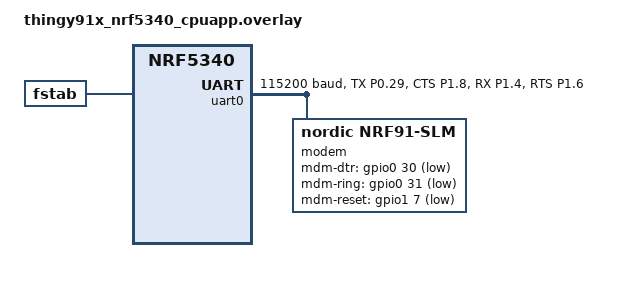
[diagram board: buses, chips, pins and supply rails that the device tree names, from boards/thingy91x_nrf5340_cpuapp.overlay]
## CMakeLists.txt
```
# SPDX-License-Identifier: Apache-2.0

cmake_minimum_required(VERSION 3.20.0)
find_package(Zephyr REQUIRED HINTS $ENV{ZEPHYR_BASE})
project(gateway_custom_connect)

target_include_directories(app PRIVATE
  include
  ${CMAKE_CURRENT_BINARY_DIR}
  ${CMAKE_CURRENT_LIST_DIR}/../gateway/src
)

target_sources(app PRIVATE
  ${CMAKE_CURRENT_LIST_DIR}/../gateway/src/credentials.c
  ${CMAKE_CURRENT_LIST_DIR}/../gateway/src/fatal_error.c
  src/main.c
  src/scan.c
  git_describe.h
)

if(CONFIG_WIFI)
  target_sources(app PRIVATE ${CMAKE_CURRENT_LIST_DIR}/../gateway/src/wifi.c)
endif()

file(WRITE ${CMAKE_CURRENT_BINARY_DIR}/mk-git-describe.sh
  "echo \"#define GIT_DESCRIBE \\\\\" > ${CMAKE_CURRENT_BINARY_DIR}/git_describe.h\n"
  "git describe --always --dirty >> ${CMAKE_CURRENT_BINARY_DIR}/git_describe.h || true\n")

add_custom_command(OUTPUT git_describe.h always_run
  COMMAND chmod +x ${CMAKE_CURRENT_BINARY_DIR}/mk-git-describe.sh
  COMMAND ${CMAKE_CURRENT_BINARY_DIR}/mk-git-describe.sh
  WORKING_DIRECTORY ${CMAKE_CURRENT_LIST_DIR})

if (NOT CONFIG_EXAMPLE_COAP_CLIENT_DTLS_LOAD_CA_FROM_FILESYSTEM)
  generate_inc_file_for_target(app
    ${CMAKE_CURRENT_SOURCE_DIR}/../http_client/src/isrgrootx1.der
    ${ZEPHYR_BINARY_DIR}/include/generated/pouch-ca-crt.inc)
endif()
```

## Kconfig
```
# Copyright (c) 2025 Golioth, Inc.
# SPDX-License-Identifier: Apache-2.0

configdefault NET_SHELL
	default n

configdefault MBEDTLS_HEAP_SIZE
	default 16384

configdefault BT_CTLR_DATA_LENGTH_MAX
	default 251

# This option is used only for automated tests
config SAMPLE_POUCH_GATEWAY_BT_AUTO_BOND
	bool
	default y if BOARD_NRF52_BSIM_NATIVE
	default y if BOARD_NRF9160DK_NRF52840

# This option is used only for automated tests
config SAMPLE_POUCH_GATEWAY_BT_AUTO_CONFIRM
	bool
	default y if BOARD_NRF52_BSIM_NATIVE
	default y if BOARD_NRF9160DK_NRF52840

config EXAMPLE_COAP_CLIENT_SYNC_PERIOD_S
	int "CoAP client sync period (s)"
	default 30

config EXAMPLE_CREDENTIALS_DIR
	string "Directory containing credentials"
	default "/lfs1/credentials"
	help
	  Directory on mounted file system containing credentials.

config EXAMPLE_COAP_CLIENT_DTLS_CREDENTIALS
	int "Sec Tag to use when storing DTLS credentials"
	default 515765868

config EXAMPLE_COAP_CLIENT_DTLS_LOAD_CA_FROM_FILESYSTEM
	bool "Load the server CA cert from filesystem"
	help
	  Optionally load the CA certificate used for DTLS/mTLS from
	  EXAMPLE_CREDENTIALS_DIR/ca.der. If this symbol is not selected,
	  ISRG Root X1 is used.

config EXAMPLE_COAP_CLIENT_GW_DEVICE_CRT_FILENAME
	string "Gateway device crt filename in filesystem"
	default "crt.der"
	help
	  The filename used to store the mTLS device certificate in the filesystem.

config EXAMPLE_COAP_CLIENT_GW_DEVICE_KEY_FILENAME
	string "Gateway device key filename in filesystem"
	default "key.der"
	help
	  The filename used to store the mTLS device private key in the filesystem.

config EXAMPLE_POUCH_DEVICE_CRT_FILENAME
	string "Pouch device crt filename in filesystem"
	default "crt.der"
	help
	  The filename used to store the pouch device certificate in the filesystem.

config EXAMPLE_POUCH_DEVICE_KEY_FILENAME
	string "Pouch device key filename in filesystem"
	default "key.der"
	help
	  The filename used to store the pouch device private key in the filesystem.

source "Kconfig.zephyr"
```

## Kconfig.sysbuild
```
# Copyright (c) 2025 Golioth, Inc.
# SPDX-License-Identifier: Apache-2.0

rsource "Kconfig.sysbuild.defconfig"

menu "Gateway configuration"

config POUCH_GATEWAY_CLOUD
	bool "Send pouches to cloud"
	default y
	help
	  Disabling cloud communication allows to test Pouch Gateway
	  functionality without relying on communication with backend. All
	  pouches received from Bluetooth nodes are dropped in that case.

config POUCH_COAP_GW_URI
	string "CoAP gateway address"
	default "$(CONFIG_POUCH_COAP_GW_URI)" if "$(CONFIG_POUCH_COAP_GW_URI)" != ""
	default "coap.golioth.io"
	help
	  Hostname of the CoAP gateway server.

endmenu

menu "BabbleSim components"
	depends on SOC = "native"

config BSIM_HANDBRAKE
	bool "Handbrake"
	default y if POUCH_GATEWAY_CLOUD

endmenu

menu "BabbleSim peripherals"
	depends on SOC = "native"

config PERIPHERAL_ZEPHYR
	bool "Zephyr"
	help
	  Zephyr peripheral sample.

config PERIPHERAL_ZEPHYR_NUM
	int "Number of Zephyr peripherals"
	default 1
	depends on PERIPHERAL_ZEPHYR

config PERIPHERAL_PERIODIC_UPLINK
	bool "Periodic uplink"
	help
	  Periodic uplink sample.

config PERIPHERAL_PERIODIC_UPLINK_NUM
	int "Number of periodic uplink peripherals"
	default 1
	depends on PERIPHERAL_PERIODIC_UPLINK

config PERIPHERAL_BLE_GATT_EXAMPLE
	bool "BLE GATT example"
	default y
	help
	  BLE GATT sample.

config PERIPHERAL_BLE_GATT_EXAMPLE_NUM
	int "Number of BLE GATT example peripherals"
	default 1
	depends on PERIPHERAL_BLE_GATT_EXAMPLE

endmenu

config PERIPHERAL_MOUNT_CREDS
	bool "Mount peripheral credentials under /creds directory"
	help
	  Mount ../creds relative to each peripheral image's runtime working
	  directory at /creds.

config GATEWAY_MOUNT_CREDS
	bool "Mount gateway credentials under /creds directory"
	help
	  Mount ../creds relative to the gateway image's runtime working
	  directory at /creds.

source "share/sysbuild/Kconfig"
```

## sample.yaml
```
sample:
  name: Pouch Gateway with custom connect
common:
  tags: bluetooth
  harness: pytest
  harness_config:
    pytest_root:
      - "../gateway/pytest/test_sample.py"
    pytest_dut_scope: module
  sysbuild: true
  platform_allow:
    - nrf52_bsim
  integration_platforms:
    - nrf52_bsim
  timeout: 180
tests:
  pouch.gateway_custom_connect.lesc:
    extra_args:
      - SB_CONFIG_PERIPHERAL_MOUNT_CREDS=y
      - SB_CONFIG_GATEWAY_MOUNT_CREDS=y
      - peripheral_ble_gatt_example_0_CONFIG_PICOLIBC=y
      - peripheral_ble_gatt_example_0_CONFIG_FILE_SYSTEM_NSIM_MOUNT=y
      - peripheral_ble_gatt_example_0_CONFIG_EXAMPLE_SYNC_PERIOD_S=2
      - gateway_custom_connect_CONFIG_EXAMPLE_COAP_CLIENT_SYNC_PERIOD_S=2
  pouch.gateway_custom_connect.auth:
    extra_args:
      - SB_CONFIG_PERIPHERAL_MOUNT_CREDS=y
      - SB_CONFIG_GATEWAY_MOUNT_CREDS=y
      - peripheral_ble_gatt_example_0_CONFIG_PICOLIBC=y
      - peripheral_ble_gatt_example_0_CONFIG_FILE_SYSTEM_NSIM_MOUNT=y
      - peripheral_ble_gatt_example_0_CONFIG_EXAMPLE_SYNC_PERIOD_S=2
      - gateway_custom_connect_CONFIG_EXAMPLE_COAP_CLIENT_SYNC_PERIOD_S=2
      - gateway_custom_connect_CONFIG_POUCH_GATEWAY_GATT_SCAN_FILTER_BONDED=y
```

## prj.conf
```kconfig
CONFIG_POUCH=y
CONFIG_POUCH_GATEWAY=y
CONFIG_POUCH_TRANSPORT_COAP_CLIENT=y
CONFIG_GOLIOTH=y
CONFIG_GOLIOTH_SETTINGS=y

CONFIG_BT=y
CONFIG_BT_CENTRAL=y
CONFIG_BT_MAX_CONN=16
CONFIG_BT_GATT_CLIENT=y
CONFIG_BT_GATT_CACHING=n
CONFIG_BT_GATT_AUTO_UPDATE_MTU=y
CONFIG_BT_L2CAP_TX_MTU=247
CONFIG_BT_BUF_ACL_TX_SIZE=251
CONFIG_BT_BUF_ACL_RX_SIZE=251
CONFIG_BT_RX_STACK_SIZE=4096

CONFIG_COAP_INIT_ACK_TIMEOUT_MS=3000

CONFIG_LOG=y

# Settings subsystem
CONFIG_FLASH=y
CONFIG_FLASH_MAP=y

CONFIG_SETTINGS=y
CONFIG_SETTINGS_FILE=y
CONFIG_SETTINGS_FILE_PATH="/lfs1/settings"

# Application
CONFIG_MAIN_STACK_SIZE=8192
CONFIG_SYSTEM_WORKQUEUE_STACK_SIZE=2048
CONFIG_SHELL=y

CONFIG_ZVFS_EVENTFD_MAX=11

# Pouch server certificate parse
CONFIG_MBEDTLS_PSA_CRYPTO_C=y
CONFIG_MBEDTLS_PEM_PARSE_C=y
CONFIG_PSA_WANT_ALG_ECDSA=y
CONFIG_PSA_WANT_ALG_SHA_384=y
CONFIG_PSA_WANT_ECC_SECP_R1_256=y
CONFIG_PSA_WANT_ECC_SECP_R1_384=y
CONFIG_PSA_WANT_KEY_TYPE_ECC_PUBLIC_KEY=y

# Bluetooth secure connections
CONFIG_BT_SMP=y
CONFIG_BT_SECURITY_ERR_TO_STR=y
# This option is implied by BT_SMP and breaks secp384r1 support
CONFIG_MBEDTLS_PSA_P256M_DRIVER_ENABLED=n

# Networking
CONFIG_NETWORKING=y
CONFIG_NET_IPV4=y
CONFIG_NET_IPV6=n
CONFIG_NET_UDP=y
CONFIG_DNS_RESOLVER=y
CONFIG_NET_SOCKETS_CONNECT_TIMEOUT=6000
CONFIG_NET_SOCKETS_SOCKOPT_TLS=y
CONFIG_NET_SOCKETS_ENABLE_DTLS=y

# Sockets
CONFIG_NET_SOCKETS=y
CONFIG_ZVFS_POLL_MAX=4
CONFIG_POSIX_API=y

# Network driver config
CONFIG_TEST_RANDOM_GENERATOR=y

# Network buffers
CONFIG_NET_PKT_RX_COUNT=8
CONFIG_NET_PKT_TX_COUNT=8
CONFIG_NET_CONTEXT_NET_PKT_POOL=y

# Network address config
CONFIG_NET_CONFIG_SETTINGS=y
CONFIG_NET_CONFIG_NEED_IPV4=y
CONFIG_NET_CONFIG_NEED_IPV6=n

# CoAP
CONFIG_COAP=y

# File system for credentials
CONFIG_FILE_SYSTEM=y
CONFIG_FILE_SYSTEM_LITTLEFS=y
CONFIG_FILE_SYSTEM_SHELL=y

# Flash for LittleFS
CONFIG_STREAM_FLASH=y

# TLS/DTLS configuration
CONFIG_MBEDTLS=y
CONFIG_MBEDTLS_BUILTIN=y
CONFIG_MBEDTLS_ENABLE_HEAP=y
CONFIG_MBEDTLS_HEAP_SIZE=60000
CONFIG_MBEDTLS_SSL_MAX_CONTENT_LEN=16384
CONFIG_MBEDTLS_SSL_PROTO_TLS1_2=y
CONFIG_MBEDTLS_X509_CRT_PARSE_C=y
CONFIG_MBEDTLS_KEY_EXCHANGE_ECDHE_ECDSA_ENABLED=y

# TLS cipher suites (via PSA Crypto)
CONFIG_PSA_WANT_ALG_ECDH=y
CONFIG_PSA_WANT_ALG_ECDSA=y
CONFIG_PSA_WANT_ALG_GCM=y
CONFIG_PSA_WANT_ALG_RSA_PKCS1V15_SIGN=y
CONFIG_PSA_WANT_ALG_SHA_256=y
CONFIG_PSA_WANT_ALG_TLS12_PRF=y
CONFIG_PSA_WANT_KEY_TYPE_AES=y
CONFIG_PSA_WANT_KEY_TYPE_ECC_KEY_PAIR_GENERATE=y
CONFIG_PSA_WANT_KEY_TYPE_RSA_PUBLIC_KEY=y
CONFIG_PSA_WANT_KEY_TYPE_RSA_KEY_PAIR_IMPORT=y

# Misc
CONFIG_HEAP_MEM_POOL_SIZE=1024
CONFIG_REBOOT=y

# The shared pouch_buf pool backs both device-side pouch transfers
# and gateway downlink buffering.  Each slot must fit one CoAP block
# (CONFIG_POUCH_COAP_BLOCK_SIZE, default 1024) plus the protocol
# header overhead.  The count covers POUCH_GATEWAY_NUM_BLOCKS in-flight
# downlink blocks (default 10) plus headroom for the gateway's own
# device-side uplink/downlink.
CONFIG_POUCH_BLOCK_SIZE=1024
CONFIG_POUCH_BLOCK_COUNT=12

# Server cert buffers (Golioth's server cert is ~1.5 KB)
CONFIG_POUCH_SERVER_CERT_MAX_LEN=2048
CONFIG_POUCH_GATEWAY_SERVER_CERT_MAX_LEN=2048

# Enable mcumgr
CONFIG_ZCBOR=y
CONFIG_MCUMGR=y

# Enable the shell mcumgr transport. This allows SMP messages to pass
# through the shell to the mgmt subsystem.
CONFIG_BASE64=y
CONFIG_CRC=y
CONFIG_MCUMGR_TRANSPORT_SHELL=y

# Enable mcumgr params to allow smpmgr to query device for its MTU
CONFIG_MCUMGR_GRP_OS=y
CONFIG_MCUMGR_GRP_OS_MCUMGR_PARAMS=y

# Enable file system commands
CONFIG_MCUMGR_GRP_FS=y
CONFIG_MCUMGR_GRP_FS_FILE_ACCESS_HOOK=y
CONFIG_MCUMGR_MGMT_NOTIFICATION_HOOKS=y
```

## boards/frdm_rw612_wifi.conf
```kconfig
# Extra configuration file for using NXP frdm_rw612 with WiFi instead of Ethernet
#   To use, add as extra conf file:
#   west build -p -b frdm_rw612 <path_to>/gateway_custom_connect -- -DEXTRA_CONF_FILE=boards/frdm_rw612_wifi.conf
#
CONFIG_WIFI=y
CONFIG_WIFI_NXP=y

# Ensure that filesystem initializes before settings
CONFIG_FILE_SYSTEM_INIT_PRIORITY=89

# Runtime provisioning for WiFi credentials
CONFIG_WIFI_CREDENTIALS=y
CONFIG_NET_L2_WIFI_SHELL=y
CONFIG_SHELL_STACK_SIZE=2560

# Wifi Configuration
CONFIG_NET_L2_ETHERNET=y
CONFIG_NET_PKT_RX_COUNT=36
CONFIG_NET_PKT_TX_COUNT=36
CONFIG_NET_BUF_RX_COUNT=40
CONFIG_NET_BUF_TX_COUNT=40
CONFIG_NET_BUF_DATA_SIZE=1744

# Handle WiFi Networks with Multiple DNS Servers
CONFIG_DNS_RESOLVER_MAX_SERVERS=3

# Disable Ethernet
CONFIG_ETH_NXP_ENET=n
CONFIG_PHY_MICROCHIP_KSZ8081=n
CONFIG_NET_CONFIG_AUTO_INIT=n
CONFIG_NET_CONFIG_NEED_IPV4=n
```

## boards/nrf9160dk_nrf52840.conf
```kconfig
# Reduce max connected BT devices help with RAM usage
CONFIG_BT_MAX_CONN=8

# PPP
CONFIG_NET_L2_PPP=y
CONFIG_NET_L2_PPP_OPTION_DNS_USE=y

# Network management
CONFIG_NET_MGMT=y
CONFIG_NET_MGMT_EVENT=y
CONFIG_NET_CONNECTION_MANAGER=y

# Modem driver
CONFIG_MODEM=y
CONFIG_MODEM_CELLULAR=y

# Align with the Serial LTE Modem (SLM) application.
CONFIG_MODEM_CELLULAR_UART_BUFFER_SIZES=6000

# CMUX configuration
# MTU must accommodate PPP frames (up to 1500 bytes for IP packets)
CONFIG_MODEM_CMUX_MTU=1500
CONFIG_MODEM_CMUX_WORK_BUFFER_SIZE_EXTRA=2048

# NB-IoT latency can reach 10s; use greater timeouts
CONFIG_NET_SOCKETS_DNS_TIMEOUT=15000
CONFIG_NET_SOCKETS_CONNECT_TIMEOUT=15000
CONFIG_COAP_INIT_ACK_TIMEOUT_MS=15000
CONFIG_NET_SOCKETS_DTLS_TIMEOUT=15000
```

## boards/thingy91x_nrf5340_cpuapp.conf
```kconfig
# Reduce max connected BT devices help with RAM usage
CONFIG_BT_MAX_CONN=8

# PPP networking over Serial Modem
CONFIG_NET_L2_PPP=y
CONFIG_NET_L2_PPP_OPTION_DNS_USE=y

# Network management
CONFIG_NET_MGMT=y
CONFIG_NET_MGMT_EVENT=y
CONFIG_NET_CONNECTION_MANAGER=y

# Modem driver
CONFIG_MODEM=y
CONFIG_MODEM_CELLULAR=y

# CMUX and buffer configuration
# MTU must accommodate PPP frames (up to 1500 bytes for IP packets)
CONFIG_MODEM_CMUX_MTU=1500
CONFIG_MODEM_CELLULAR_UART_BUFFER_SIZES=6000
CONFIG_MODEM_CMUX_WORK_BUFFER_SIZE_EXTRA=2048

# UART configuration for nRF5340
CONFIG_UART_INTERRUPT_DRIVEN=y
CONFIG_UART_ASYNC_API=n

# GPIO
CONFIG_GPIO=y

# Console on RTT (UART0 is used for the modem)
CONFIG_UART_CONSOLE=n
CONFIG_RTT_CONSOLE=y
CONFIG_SHELL_BACKEND_RTT=y
CONFIG_LOG_BACKEND_UART=n
CONFIG_SEGGER_RTT_BUFFER_SIZE_UP=2048

# Debug logging
CONFIG_LOG_DEFAULT_LEVEL=3

# NB-IoT latency can reach 10s; use greater timeouts
CONFIG_NET_SOCKETS_DNS_TIMEOUT=15000
CONFIG_NET_SOCKETS_CONNECT_TIMEOUT=15000
CONFIG_COAP_INIT_ACK_TIMEOUT_MS=15000
CONFIG_NET_SOCKETS_DTLS_TIMEOUT=15000

# Increase default BT ACL TX count
CONFIG_BT_BUF_ACL_TX_COUNT=7
```

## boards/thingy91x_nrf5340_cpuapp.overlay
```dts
/*
 * Thingy:91 X overlay for Serial Modem communication with on-board nRF9151
 *
 * UART0 is used for Serial Modem communication with 4-wire UART (HW flow control).
 * Pin assignment matches the pouch-gateway BT HCI UART wiring:
 *   TX  = P0.29 <-> nRF9151 P0.00 (RX)
 *   RX  = P1.04 <-> nRF9151 P0.01 (TX)
 *   RTS = P1.06 <-> nRF9151 P0.05 (CTS)
 *   CTS = P1.08 <-> nRF9151 P0.04 (RTS)
 *   DTR = P1.15 <-> nRF9151 P0.26 (Power/DTR)
 *
 * Console is on RTT since UART0 is used for the modem.
 */

/ {
	aliases {
		modem = &modem;
	};

	fstab {
		compatible = "zephyr,fstab";
		lfs1: lfs1 {
			compatible = "zephyr,fstab,littlefs";
			mount-point = "/lfs1";
			partition = <&storage_partition>;
			automount;
			read-size = <16>;
			prog-size = <16>;
			cache-size = <64>;
			lookahead-size = <32>;
			block-cycles = <512>;
		};
	};
};

&uart0 {
	status = "okay";
	current-speed = <115200>;
	hw-flow-control;
	pinctrl-0 = <&uart_vcom0_vcom1_default>;
	pinctrl-1 = <&uart_vcom0_vcom1_sleep>;
	pinctrl-names = "default", "sleep";

	/* Nordic nRF91 Serial Modem configuration */
	modem: modem {
		compatible = "nordic,nrf91-slm";
		status = "okay";
		mdm-dtr-gpios = <&gpio0 30 GPIO_ACTIVE_LOW>;
		mdm-ring-gpios = <&gpio0 31 (GPIO_ACTIVE_LOW | GPIO_PULL_DOWN)>;
		mdm-reset-gpios = <&gpio1 7 GPIO_ACTIVE_LOW>;
	};
};

&pinctrl {
	/* UART0 with HW flow control using pouch-gateway BT HCI pin assignment */
	uart_vcom0_vcom1_default: uart_vcom0_vcom1_default {
		group1 {
			psels = <NRF_PSEL(UART_TX,  0, 29)>,
			        <NRF_PSEL(UART_CTS, 1, 8)>,
			        <NRF_PSEL(UART_RX,  1, 4)>,
			        <NRF_PSEL(UART_RTS, 1, 6)>;
		};
	};

	uart_vcom0_vcom1_sleep: uart_vcom0_vcom1_sleep {
		group1 {
			psels = <NRF_PSEL(UART_TX, 0, 29)>,
				<NRF_PSEL(UART_CTS, 1, 8)>,
				<NRF_PSEL(UART_RX, 1, 4)>,
				<NRF_PSEL(UART_RTS, 1, 6)>;
			low-power-enable;
		};
	};
};
```

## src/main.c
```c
/*
 * Copyright (c) 2025 Golioth, Inc.
 *
 * SPDX-License-Identifier: Apache-2.0
 */

#include <zephyr/bluetooth/bluetooth.h>
#include <zephyr/bluetooth/conn.h>
#include <zephyr/bluetooth/hci.h>
#include <zephyr/net/net_if.h>
#include <zephyr/net/net_mgmt.h>
#include <zephyr/net/dhcpv4.h>
#include <zephyr/drivers/gpio.h>

#include <pouch/pouch.h>
#include <pouch/uplink.h>
#include <pouch/transport/bluetooth/gatt.h>
#include <pouch/transport/certificate.h>
#include <pouch/transport/coap/client.h>
#include <pouch/transport/coap/gateway.h>

#include <pouch/gateway/bt/bond.h>
#include <pouch/gateway/bt/connect.h>
#include <pouch/gateway/cert.h>
#include <pouch/gateway/cloud.h>
#include <pouch/gateway/uplink.h>

#include <golioth/settings_callbacks.h>

#include "credentials.h"
#include "scan.h"

#if defined(CONFIG_WIFI)
#include "wifi.h"
#endif

#include <git_describe.h>

#include <zephyr/logging/log.h>
LOG_MODULE_REGISTER(main);

struct sync_data
{
    struct k_work_delayable work;
    struct k_mutex lock;
    struct bt_conn *active_conn;
    struct bt_conn *pending_conn; /* Owns a reference while non-NULL. */
    int counter;
};

static struct sync_data sync_data;

struct net_wait_data
{
    struct k_sem sem;
    struct net_mgmt_event_callback cb;
};

static const struct gpio_dt_spec button = GPIO_DT_SPEC_GET_OR(DT_ALIAS(sw0), gpios, {});
static struct gpio_callback button_cb_data;
static struct bt_conn *default_conn;

static const k_timeout_t bonding_timeout = K_SECONDS(30);
static const bt_security_t bt_security =
    IS_ENABLED(CONFIG_POUCH_GATEWAY_GATT_SCAN_FILTER_BONDED) ? BT_SECURITY_L4 : BT_SECURITY_L2;

static int schedule_sync(struct bt_conn *conn, k_timeout_t delay)
{
    struct bt_conn *owned_conn;
    int ret;

    owned_conn = bt_conn_ref(conn);
    if (owned_conn == NULL)
    {
        return -ENOTCONN;
    }

    k_mutex_lock(&sync_data.lock, K_FOREVER);

    if (conn != sync_data.active_conn)
    {
        ret = -ENOTCONN;
        goto out;
    }

    if (sync_data.pending_conn != NULL)
    {
        ret = -EBUSY;
        goto out;
    }

    ret = k_work_schedule(&sync_data.work, delay);
    if (ret <= 0)
    {
        ret = (ret == 0) ? -EBUSY : ret;
        goto out;
    }

    /* Hand the reference over to the pending slot; the work handler releases it. */
    sync_data.pending_conn = owned_conn;
    owned_conn = NULL;
    ret = 0;

out:
    k_mutex_unlock(&sync_data.lock);

    if (owned_conn != NULL)
    {
        bt_conn_unref(owned_conn);
    }

    return ret;
}

static void button_pressed(const struct device *dev, struct gpio_callback *cb, uint32_t pins)
{
    if (default_conn)
    {
        LOG_INF("Confirming passkey");
        bt_conn_auth_passkey_confirm(default_conn);
    }
    else if (pouch_gateway_bonding_is_enabled())
    {
        LOG_WRN("Bonding already enabled");
    }
    else
    {
        pouch_gateway_bonding_enable(bonding_timeout);
    }
}

static void do_uplink(void)
{
    const char *payload = "{\"temp\":22}";
    pouch_uplink_entry_write(".s/sensor",
                             POUCH_CONTENT_TYPE_JSON,
                             payload,
                             strlen(payload),
                             POUCH_FOREVER);
}
POUCH_UPLINK_HANDLER(do_uplink);

static int led_setting_cb(bool new_value)
{
    LOG_INF("Received LED setting: %d", (int) new_value);

    return 0;
}

GOLIOTH_SETTINGS_HANDLER(LED, led_setting_cb);

static void event_cb_handler(struct net_mgmt_event_callback *cb,
                             uint64_t mgmt_event,
                             struct net_if *iface)
{
    struct net_wait_data *wait = CONTAINER_OF(cb, struct net_wait_data, cb);

    if (mgmt_event == cb->event_mask)
    {
        k_sem_give(&wait->sem);
    }
}

static void wait_for_net_event(struct net_if *iface, uint64_t event)
{
    struct net_wait_data wait;

    wait.cb.handler = event_cb_handler;
    wait.cb.event_mask = event;

    k_sem_init(&wait.sem, 0, 1);
    net_mgmt_add_event_callback(&wait.cb);

    k_sem_take(&wait.sem, K_FOREVER);

    net_mgmt_del_event_callback(&wait.cb);
}

static void wait_for_network(void)
{
    struct net_if *iface = net_if_get_default();

    if (!net_if_is_up(iface))
    {
        LOG_INF("Bringing up network interface (%p)", (void *) iface);
        int ret = net_if_up(iface);
        if ((ret < 0) && (ret != -EALREADY))
        {
            LOG_ERR("Failed to bring up network interface: %d", ret);
            return;
        }
    }

    if (IS_ENABLED(CONFIG_WIFI))
    {
        struct net_wait_data wait;

        wait.cb.handler = event_cb_handler;
        wait.cb.event_mask = NET_EVENT_IPV4_ADDR_ADD;
        k_sem_init(&wait.sem, 0, 1);
        net_mgmt_add_event_callback(&wait.cb);

        IF_ENABLED(CONFIG_WIFI, (wifi_connect()));

        if (IS_ENABLED(CONFIG_NET_DHCPV4))
        {
            net_dhcpv4_start(iface);
        }

        LOG_INF("Waiting to obtain IP address");
        k_sem_take(&wait.sem, K_FOREVER);
        net_mgmt_del_event_callback(&wait.cb);
    }
    else if (IS_ENABLED(CONFIG_NET_L2_ETHERNET) && IS_ENABLED(CONFIG_NET_DHCPV4))
    {
        net_dhcpv4_start(net_if_get_default());
    }
    else if (IS_ENABLED(CONFIG_MODEM))
    {
        LOG_INF("Waiting to obtain IP address");
        wait_for_net_event(iface,
                           IS_ENABLED(DNS_SERVER_IP_ADDRESSES) ? NET_EVENT_DNS_SERVER_ADD
                                                               : NET_EVENT_IPV4_ADDR_ADD);
    }
}

static void bt_connected(struct bt_conn *conn, uint8_t err)
{
    char addr[BT_ADDR_LE_STR_LEN];

    bt_addr_le_to_str(bt_conn_get_dst(conn), addr, sizeof(addr));

    if (err)
    {
        LOG_ERR("Failed to connect to %s %u %s", addr, err, bt_hci_err_to_str(err));

        bt_conn_unref(conn);

        custom_scan_start();
        return;
    }

    LOG_INF("Connected: %s", addr);
    default_conn = conn;

    err = bt_conn_set_security(conn, bt_security);
    if (err)
    {
        LOG_ERR("Failed to set security (%d).", err);

        bt_conn_disconnect(conn, BT_HCI_ERR_REMOTE_USER_TERM_CONN);
        return;
    }
}

static void bt_disconnected(struct bt_conn *conn, uint8_t reason)
{
    char addr[BT_ADDR_LE_STR_LEN];
    struct bt_conn *pending_conn = NULL;

    default_conn = NULL;

    k_mutex_lock(&sync_data.lock, K_FOREVER);
    if (sync_data.active_conn == conn)
    {
        sync_data.active_conn = NULL;
    }
    if (sync_data.pending_conn == conn)
    {
        pending_conn = sync_data.pending_conn;
        sync_data.pending_conn = NULL;
    }
    k_mutex_unlock(&sync_data.lock);

    if (pending_conn != NULL)
    {
        (void) k_work_cancel_delayable(&sync_data.work);
        bt_conn_unref(pending_conn);
    }

    bt_addr_le_to_str(bt_conn_get_dst(conn), addr, sizeof(addr));
    LOG_INF("Disconnected: %s, reason 0x%02x %s", addr, reason, bt_hci_err_to_str(reason));

    bt_conn_unref(conn);

    custom_scan_start();
}

static void on_gateway_end(struct bt_conn *conn)
{
    int counter;

    k_mutex_lock(&sync_data.lock, K_FOREVER);
    counter = ++sync_data.counter;
    k_mutex_unlock(&sync_data.lock);

    if (counter > 1)
    {
        LOG_INF("Disconnecting");
        bt_conn_disconnect(conn, BT_HCI_ERR_REMOTE_USER_TERM_CONN);
    }
    else
    {
        LOG_INF("Start sync once again in 5s");
        int ret = schedule_sync(conn, K_SECONDS(5));
        if (ret < 0)
        {
            LOG_ERR("Failed to schedule Pouch gateway (%d)", ret);
            bt_conn_disconnect(conn, BT_HCI_ERR_REMOTE_USER_TERM_CONN);
        }
    }
}

static void sync_start_handler(struct k_work *work)
{
    struct bt_conn *conn;
    bool active;
    int ret;

    ARG_UNUSED(work);

    k_mutex_lock(&sync_data.lock, K_FOREVER);
    conn = sync_data.pending_conn;
    sync_data.pending_conn = NULL;
    active = (conn == sync_data.active_conn);
    k_mutex_unlock(&sync_data.lock);

    if (conn == NULL)
    {
        return;
    }

    if (!active)
    {
        /* The peer disconnected while the restart was pending. */
        bt_conn_unref(conn);
        return;
    }

    ret = pouch_gateway_bt_start(conn, on_gateway_end);
    if (ret < 0)
    {
        LOG_ERR("Failed to start Pouch gateway (%d)", ret);
        bt_conn_disconnect(conn, BT_HCI_ERR_REMOTE_USER_TERM_CONN);
    }

    bt_conn_unref(conn);
}

static void security_changed(struct bt_conn *conn, bt_security_t level, enum bt_security_err err)
{
    if (err)
    {
        LOG_ERR("BT security change failed. Current level: %d, err: %s(%u)",
                level,
                bt_security_err_to_str(err),
                err);

        struct bt_conn_info info;
        bt_conn_get_info(conn, &info);

        bt_unpair(info.id, info.le.dst);
        bt_conn_disconnect(conn, BT_HCI_ERR_INSUFFICIENT_SECURITY);
    }
    else
    {
        LOG_INF("BT security changed to level %u", level);

        k_mutex_lock(&sync_data.lock, K_FOREVER);
        sync_data.active_conn = conn;
        sync_data.counter = 0;
        k_mutex_unlock(&sync_data.lock);

        int ret = schedule_sync(conn, K_NO_WAIT);
        if (ret < 0)
        {
            LOG_ERR("Failed to schedule Pouch gateway (%d)", ret);
            bt_conn_disconnect(conn, BT_HCI_ERR_REMOTE_USER_TERM_CONN);
        }
    }
}

BT_CONN_CB_DEFINE(conn_callbacks) = {
    .connected = bt_connected,
    .disconnected = bt_disconnected,
    .security_changed = security_changed,
};

static void auth_cancel(struct bt_conn *conn)
{
    char addr[BT_ADDR_LE_STR_LEN];

    bt_addr_le_to_str(bt_conn_get_dst(conn), addr, sizeof(addr));

    LOG_INF("Pairing cancelled: %s", addr);
}

static void auth_passkey_confirm(struct bt_conn *conn, unsigned int passkey)
{
    char addr[BT_ADDR_LE_STR_LEN];
    char passkey_str[7];

    bt_addr_le_to_str(bt_conn_get_dst(conn), addr, sizeof(addr));

    snprintk(passkey_str, 7, "%06u", passkey);

    LOG_INF("Confirm passkey for %s: %s", addr, passkey_str);

    if (IS_ENABLED(CONFIG_SAMPLE_POUCH_GATEWAY_BT_AUTO_CONFIRM))
    {
        LOG_INF("Confirming passkey");
        bt_conn_auth_passkey_confirm(conn);
    }
}

static void auth_passkey_display(struct bt_conn *conn, unsigned int passkey)
{
    char addr[BT_ADDR_LE_STR_LEN];
    char passkey_str[7];

    bt_addr_le_to_str(bt_conn_get_dst(conn), addr, sizeof(addr));

    snprintk(passkey_str, 7, "%06u", passkey);

    LOG_INF("Passkey for %s: %s", addr, passkey_str);
}

static struct bt_conn_auth_cb auth_cb = {
    .cancel = auth_cancel,

    .passkey_confirm =
        IS_ENABLED(CONFIG_POUCH_GATEWAY_GATT_SCAN_FILTER_BONDED) ? auth_passkey_confirm : NULL,
    .passkey_display =
        IS_ENABLED(CONFIG_POUCH_GATEWAY_GATT_SCAN_FILTER_BONDED) ? auth_passkey_display : NULL,
};

static void pairing_complete(struct bt_conn *conn, bool bonded)
{
    LOG_INF("Pairing Complete");
}

static void pairing_failed(struct bt_conn *conn, enum bt_security_err reason)
{
    LOG_WRN("Pairing Failed (%d). Disconnecting.", reason);

    bt_conn_disconnect(conn,
                       (reason == BT_SECURITY_ERR_PAIR_NOT_ALLOWED) ? BT_HCI_ERR_PAIRING_NOT_ALLOWED
                                                                    : BT_HCI_ERR_AUTH_FAIL);
}

static struct bt_conn_auth_info_cb auth_info_cb = {
    .pairing_complete = pairing_complete,
    .pairing_failed = pairing_failed,
};

int main(void)
{
    int err;

    LOG_INF("Gateway Version: " STRINGIFY(GIT_DESCRIBE));
    LOG_INF("Pouch BLE Transport Protocol Version: %d", POUCH_GATT_VERSION);

    k_work_init_delayable(&sync_data.work, sync_start_handler);
    k_mutex_init(&sync_data.lock);

    /* Load the Pouch device's identity (cert + key). */
    struct pouch_config config = {0};

    err = load_certificate(&config.certificate);
    if (err)
    {
        LOG_ERR("Failed to load certificate (err %d)", err);
        return 0;
    }

    config.private_key = load_private_key();
    if (config.private_key == PSA_KEY_ID_NULL)
    {
        LOG_ERR("Failed to load private key");
        return 0;
    }

    LOG_INF("Credentials loaded");

    err = pouch_init(&config);
    if (err)
    {
        LOG_ERR("Pouch init failed (err %d)", err);
        return 0;
    }

    /* Load DTLS credentials for the CoAP transport. */
    if (IS_ENABLED(CONFIG_POUCH_GATEWAY_CLOUD))
    {
        err = load_coap_server_ca(CONFIG_EXAMPLE_COAP_CLIENT_DTLS_CREDENTIALS);
        if (err)
        {
            LOG_ERR("Failed to load server CA certificate (err %d)", err);
            return 0;
        }

        err = load_coap_gw_device_crt(CONFIG_EXAMPLE_COAP_CLIENT_DTLS_CREDENTIALS);
        if (err)
        {
            LOG_ERR("Failed to load device certificate (err %d)", err);
            return 0;
        }

        err = load_coap_gw_device_key(CONFIG_EXAMPLE_COAP_CLIENT_DTLS_CREDENTIALS);
        if (err)
        {
            LOG_ERR("Failed to load device key (err %d)", err);
            return 0;
        }

        err = pouch_coap_client_init(CONFIG_EXAMPLE_COAP_CLIENT_DTLS_CREDENTIALS);
        if (err)
        {
            LOG_ERR("Failed to initialize CoAP client transport: %d", err);
            return err;
        }

        pouch_coap_gateway_init();
    }

    if (DT_HAS_ALIAS(sw0))
    {
        LOG_INF("Set up button at %s pin %d", button.port->name, button.pin);

        err = gpio_pin_configure_dt(&button, GPIO_INPUT);
        if (err < 0)
        {
            LOG_ERR("Could not initialize Button");
        }

        err = gpio_pin_interrupt_configure_dt(&button, GPIO_INT_EDGE_TO_ACTIVE);
        if (err)
        {
            LOG_ERR("Error %d: failed to configure interrupt on %s pin %d",
                    err,
                    button.port->name,
                    button.pin);
            return 0;
        }

        gpio_init_callback(&button_cb_data, button_pressed, BIT(button.pin));
        gpio_add_callback(button.port, &button_cb_data);
    }

    /* Wait for network and prime the cloud transport so the server
     * certificate is available before any BLE peripheral connects.
     */
    if (IS_ENABLED(CONFIG_POUCH_GATEWAY_CLOUD))
    {
        wait_for_network();

        while (true)
        {
            err = pouch_gateway_cloud_ensure_ready();
            if (!err)
            {
                break;
            }
            LOG_WRN("Initial cloud transport setup failed: %d, will retry", err);
            k_sleep(K_SECONDS(5));
        }
    }

    pouch_gateway_cert_module_init();
    pouch_gateway_uplink_module_init();

    err = bt_enable(NULL);
    if (err)
    {
        LOG_ERR("Bluetooth init failed (err %d)", err);
        return err;
    }

    if (IS_ENABLED(CONFIG_BT_SMP))
    {
        bt_conn_auth_cb_register(&auth_cb);
        bt_conn_auth_info_cb_register(&auth_info_cb);
    }

    LOG_INF("Bluetooth initialized");

    if (IS_ENABLED(CONFIG_SAMPLE_POUCH_GATEWAY_BT_AUTO_BOND))
    {
        pouch_gateway_bonding_enable(K_FOREVER);
    }

    custom_scan_start();

    if (IS_ENABLED(CONFIG_POUCH_GATEWAY_CLOUD))
    {
        while (true)
        {
            k_sleep(K_SECONDS(CONFIG_EXAMPLE_COAP_CLIENT_SYNC_PERIOD_S));

            err = pouch_coap_client_sync();
            if (err)
            {
                LOG_WRN("CoAP sync failed: %d", err);
            }
        }
    }

    return 0;
}
```

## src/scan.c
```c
/*
 * Copyright (c) 2025 Golioth, Inc.
 *
 * SPDX-License-Identifier: Apache-2.0
 */

#include <zephyr/bluetooth/bluetooth.h>
#include <zephyr/bluetooth/conn.h>
#include <zephyr/bluetooth/uuid.h>

#include <pouch/transport/bluetooth/gatt.h>

#include <pouch/gateway/bt/bond.h>
#include "scan.h"

#include <zephyr/logging/log.h>
LOG_MODULE_REGISTER(custom_scan, LOG_LEVEL_DBG);

static inline bool version_is_compatible(const struct pouch_gatt_adv_data *adv_data)
{
    uint8_t self_ver =
        adv_data->version & POUCH_GATT_ADV_VERSION_SELF_MASK >> POUCH_GATT_ADV_VERSION_SELF_SHIFT;

    return POUCH_GATT_VERSION == self_ver;
}

static inline bool sync_requested(const struct pouch_gatt_adv_data *adv_data)
{
    return (adv_data->flags & POUCH_GATT_ADV_FLAG_SYNC_REQUEST);
}

struct tf_data
{
    const bt_addr_le_t *addr;
    bool is_tf;
    bool is_bonded;
    bool name_is_golioth;
    struct pouch_gatt_adv_data adv_data;
};

static const struct bt_uuid_16 golioth_svc_uuid_16 = BT_UUID_INIT_16(POUCH_GATT_UUID_SVC_VAL_16);

static bool data_cb(struct bt_data *data, void *user_data)
{
    struct tf_data *tf = user_data;

    switch (data->type)
    {
        case BT_DATA_NAME_COMPLETE:
        {
            if (!strncmp(data->data, "Golioth", data->data_len))
            {
                tf->name_is_golioth = true;
            }

            return true;
        }

        case BT_DATA_SVC_DATA16:
        {
            const struct pouch_gatt_adv_data *adv_data;

            if (data->data_len >= sizeof(golioth_svc_uuid_16.val) + sizeof(*adv_data)
                && memcmp(&golioth_svc_uuid_16.val, data->data, sizeof(golioth_svc_uuid_16.val))
                    == 0)
            {
                adv_data = (const void *) &data->data[sizeof(golioth_svc_uuid_16.val)];

                tf->is_tf = true;
                tf->adv_data = *adv_data;

                return true;
            }
            return true;
        }

        default:
            return true;
    }
}

static void bond_filter(const struct bt_bond_info *info, void *user_data)
{
    struct tf_data *tf = user_data;

    if (memcmp(&info->addr, tf->addr, sizeof(info->addr)) == 0)
    {
        tf->is_bonded = true;
    }
}

static void device_found(const bt_addr_le_t *addr,
                         int8_t rssi,
                         uint8_t type,
                         struct net_buf_simple *ad)
{
    char addr_str[BT_ADDR_LE_STR_LEN];
    struct tf_data tf = {
        .addr = addr,
        .is_tf = false,
        /* When filtering bonded devices is disabled, treat all devices as bonded */
        .is_bonded = IS_ENABLED(CONFIG_POUCH_GATEWAY_GATT_SCAN_FILTER_BONDED) ? false : true,
    };
    int err;

    /* We're only interested in connectable events */
    if (type != BT_GAP_ADV_TYPE_ADV_IND && type != BT_GAP_ADV_TYPE_ADV_DIRECT_IND
        && type != BT_GAP_ADV_TYPE_SCAN_RSP)
    {
        return;
    }

    bt_data_parse(ad, data_cb, &tf);

    if (!tf.is_tf)
    {
        return;
    }

    bt_addr_le_to_str(addr, addr_str, sizeof(addr_str));

    if (IS_ENABLED(CONFIG_POUCH_GATEWAY_GATT_SCAN_FILTER_BONDED))
    {
        bt_foreach_bond(BT_ID_DEFAULT, bond_filter, &tf);

        LOG_DBG("Pouch device found: %s, (RSSI %d) (bonded %d)",
                addr_str,
                rssi,
                (int) tf.is_bonded);
    }
    else
    {
        LOG_DBG("Pouch device found: %s, (RSSI %d)", addr_str, rssi);
    }

    LOG_DBG("version=0x%0x flags=0%0x name_is_golioth=%d rssi=%d",
            tf.adv_data.version,
            tf.adv_data.flags,
            tf.name_is_golioth,
            rssi);

    if (!version_is_compatible(&tf.adv_data) || !tf.name_is_golioth || rssi <= -70)
    {
        return;
    }

    if (!tf.is_bonded && !pouch_gateway_bonding_is_enabled())
    {
        return;
    }

    if (tf.is_bonded && !sync_requested(&tf.adv_data))
    {
        return;
    }

    err = bt_le_scan_stop();
    if (err)
    {
        LOG_ERR("Failed to stop scanning");
        return;
    }

    struct bt_conn *conn = NULL;
    err = bt_conn_le_create(addr, BT_CONN_LE_CREATE_CONN, BT_LE_CONN_PARAM_DEFAULT, &conn);
    if (err)
    {
        LOG_ERR("Create auto conn failed (%d)", err);
        custom_scan_start();
        return;
    }

    /* Disable bonding after first connect attempt */
    if (!tf.is_bonded)
    {
        pouch_gateway_bonding_disable();
    }
}

void custom_scan_start(void)
{
    int err;

    err = bt_le_scan_start(BT_LE_SCAN_PARAM(BT_LE_SCAN_TYPE_ACTIVE,
                                            BT_LE_SCAN_OPT_NONE,
                                            BT_GAP_SCAN_FAST_INTERVAL_MIN,
                                            BT_GAP_SCAN_FAST_WINDOW),
                           device_found);
    if (err)
    {
        LOG_ERR("Scanning failed to start (err %d)", err);
        return;
    }

    LOG_INF("Scanning successfully started");
}
```

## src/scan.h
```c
/*
 * Copyright (c) 2025 Golioth, Inc.
 *
 * SPDX-License-Identifier: Apache-2.0
 */

#pragma once

void custom_scan_start(void);
```
